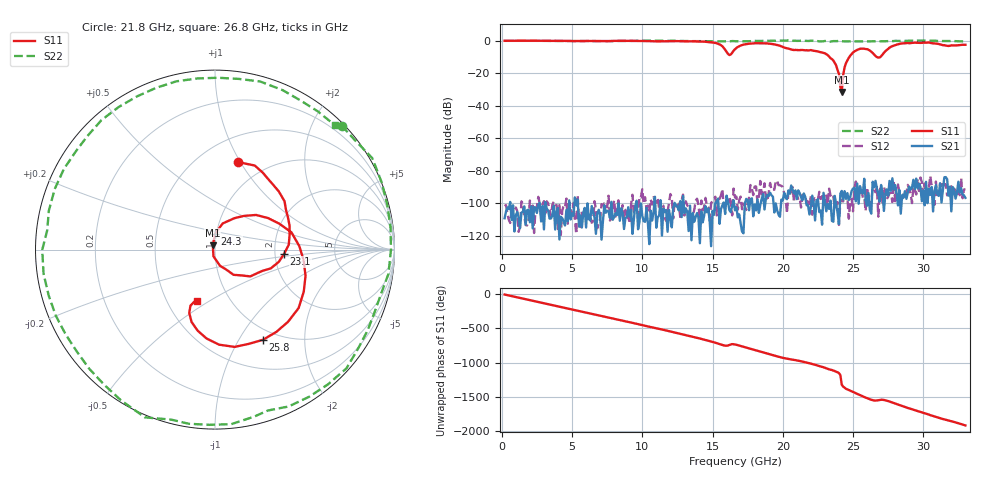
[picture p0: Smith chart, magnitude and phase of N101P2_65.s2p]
# GHZ S RI R 50
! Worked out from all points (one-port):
!   329 points, 200 MHz to 33 GHz, reference 50 ohm
!   lowest |S11| = -31.6 dB at 24.2 GHz (marker M1), VSWR 1.05, Z = 48.8 + j2.3 ohm
!   |S11| at or under -10 dB: 23.33 GHz to 24.74 GHz (1.411 GHz wide, 5.87 % of centre); 26.69 GHz to 26.93 GHz (242.6 MHz wide, 0.905 % of centre)
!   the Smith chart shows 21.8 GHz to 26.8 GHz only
!   S11 on the Smith chart (normalised r, x): 21.8 GHz: 0.75, +0.98; 23.1 GHz: 2.25, -0.13; 24.3 GHz: 0.99, +0.18; 25.8 GHz: 0.86, -1.27; 26.8 GHz: 0.70, -0.45
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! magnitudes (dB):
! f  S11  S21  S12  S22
! 200 MHz  0.0  -109.3  -101.7  0.0
! 5.7 GHz  -0.2  -115.0  -104.9  -0.2
! 11.2 GHz  -0.3  -107.7  -103.4  0.0
! 15.2 GHz  -1.3  -100.3  -96.0  -0.3
! 16.2 GHz  -8.8  -104.3  -96.0  -0.3
! 16.6 GHz  -5.2  -104.4  -96.6  -0.3
! 18.8 GHz  -1.5  -97.0  -96.6  0.0
! 21.8 GHz  -5.9  -101.4  -98.9  -0.1
! 22.1 GHz  -5.9  -95.4  -107.1  0.0
! 23.1 GHz  -8.3  -105.0  -95.3  -0.2
! 23.8 GHz  -15.2  -100.8  -102.1  -0.2
! 24 GHz  -20.5  -112.9  -113.4  0.1
! 24.1 GHz  -28.4  -94.1  -99.0  -0.1
! 24.2 GHz  -31.6  -92.5  -98.2  -0.2
! 24.3 GHz  -21.1  -97.7  -99.0  -0.3
! 24.5 GHz  -13.7  -97.4  -95.2  -0.4
! 24.8 GHz  -9.3  -96.2  -99.1  -0.3
! 25.8 GHz  -4.9  -85.0  -96.3  -0.4
! 26.8 GHz  -10.3  -94.0  -108.3  -0.3
! 27.6 GHz  -4.2  -86.3  -93.8  -0.2
! 28.8 GHz  -1.4  -97.4  -93.7  0.0
! 33 GHz  -2.5  -96.7  -91.6  -0.4
